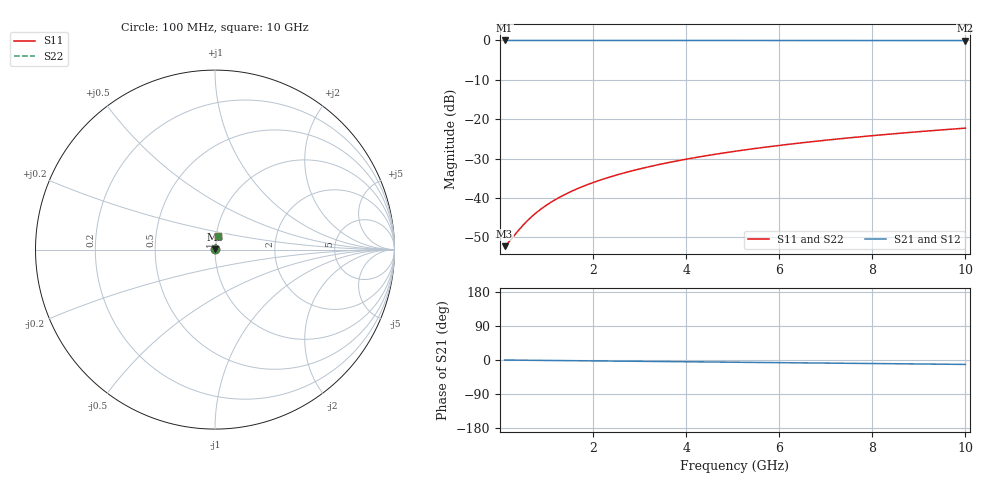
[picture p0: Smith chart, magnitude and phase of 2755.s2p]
# Hz S RI R 50.00
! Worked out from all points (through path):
!   100 points, 100 MHz to 10 GHz, reference 50 ohm
!   highest |S21| = -0.02 dB at 100 MHz (marker M1); lowest = 0.0 dB at 10 GHz (marker M2)
!   group delay of S21, straight-line fit = 3.23 ps
!   lowest |S11| = -52.2 dB at 100 MHz (marker M3), VSWR 1.00, Z = 50.2 + j0.0773 ohm
!   |S11| at or under -10 dB: start of sweep to end of sweep
!   |S22| runs from -52.2 to -22.3 dB; largest |S21 - S12| = 0
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1e8  0.00232 0.000769  0.9977 -0.00202  0.9977 -0.00202  0.00232 0.000769
2e8  0.00234 0.00154  0.9977 -0.00405  0.9977 -0.00405  0.00234 0.00154
4e8  0.00237 0.00308  0.9976 -0.0081  0.9976 -0.0081  0.00237 0.00308
5e8  0.0024 0.00385  0.9976 -0.0101  0.9976 -0.0101  0.0024 0.00385
6e8  0.00242 0.00461  0.9975 -0.0121  0.9975 -0.0121  0.00242 0.00461
7e8  0.00245 0.00538  0.9975 -0.0142  0.9975 -0.0142  0.00245 0.00538
9e8  0.00251 0.00692  0.9974 -0.0182  0.9974 -0.0182  0.00251 0.00692
1.1e9  0.00258 0.00846  0.9973 -0.0223  0.9973 -0.0223  0.00258 0.00846
1.3e9  0.00266 0.00999  0.9972 -0.0263  0.9972 -0.0263  0.00266 0.00999
1.5e9  0.00275 0.0115  0.9971 -0.0304  0.9971 -0.0304  0.00275 0.0115
1.8e9  0.00292 0.0138  0.9968 -0.0364  0.9968 -0.0364  0.00292 0.0138
2.1e9  0.00311 0.0161  0.9965 -0.0425  0.9965 -0.0425  0.00311 0.0161
2.5e9  0.00341 0.0192  0.9961 -0.0506  0.9961 -0.0506  0.00341 0.0192
2.9e9  0.00375 0.0222  0.9955 -0.0587  0.9955 -0.0587  0.00375 0.0222
3.4e9  0.00425 0.0261  0.9948 -0.0688  0.9948 -0.0688  0.00425 0.0261
4.2e9  0.00522 0.0321  0.9933 -0.0849  0.9933 -0.0849  0.00522 0.0321
5.1e9  0.00653 0.0389  0.9913 -0.103  0.9913 -0.103  0.00653 0.0389
5.9e9  0.00791 0.0449  0.9893 -0.1191  0.9893 -0.1191  0.00791 0.0449
6.7e9  0.00948 0.0509  0.9869 -0.1351  0.9869 -0.1351  0.00948 0.0509
7.5e9  0.0112 0.0568  0.9842 -0.1511  0.9842 -0.1511  0.0112 0.0568
8.4e9  0.0135 0.0633  0.9808 -0.169  0.9808 -0.169  0.0135 0.0633
1e10  0.018 0.0748  0.9739 -0.2006  0.9739 -0.2006  0.018 0.0748
